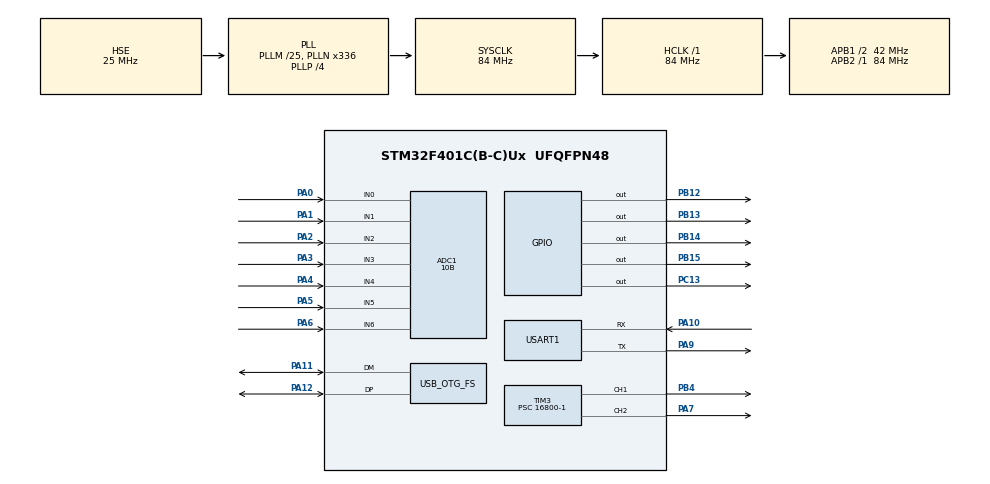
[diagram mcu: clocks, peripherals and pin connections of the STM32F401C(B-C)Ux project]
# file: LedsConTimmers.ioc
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ADC1.Channel-0\#ChannelRegularConversion=ADC_CHANNEL_0
ADC1.Channel-1\#ChannelRegularConversion=ADC_CHANNEL_1
ADC1.Channel-2\#ChannelRegularConversion=ADC_CHANNEL_2
ADC1.Channel-3\#ChannelRegularConversion=ADC_CHANNEL_3
ADC1.Channel-4\#ChannelRegularConversion=ADC_CHANNEL_4
ADC1.Channel-5\#ChannelRegularConversion=ADC_CHANNEL_5
ADC1.Channel-6\#ChannelRegularConversion=ADC_CHANNEL_6
ADC1.ClockPrescaler=ADC_CLOCK_SYNC_PCLK_DIV8
ADC1.ContinuousConvMode=ENABLE
ADC1.DMAContinuousRequests=ENABLE
ADC1.NbrOfConversion=7
ADC1.NbrOfConversionFlag=1
ADC1.Rank-0\#ChannelRegularConversion=1
ADC1.Rank-1\#ChannelRegularConversion=2
ADC1.Rank-2\#ChannelRegularConversion=3
ADC1.Rank-3\#ChannelRegularConversion=4
ADC1.Rank-4\#ChannelRegularConversion=5
ADC1.Rank-5\#ChannelRegularConversion=6
ADC1.Rank-6\#ChannelRegularConversion=7
ADC1.Resolution=ADC_RESOLUTION_10B
ADC1.SamplingTime-0\#ChannelRegularConversion=ADC_SAMPLETIME_3CYCLES
ADC1.SamplingTime-1\#ChannelRegularConversion=ADC_SAMPLETIME_3CYCLES
ADC1.SamplingTime-2\#ChannelRegularConversion=ADC_SAMPLETIME_3CYCLES
ADC1.SamplingTime-3\#ChannelRegularConversion=ADC_SAMPLETIME_3CYCLES
ADC1.SamplingTime-4\#ChannelRegularConversion=ADC_SAMPLETIME_3CYCLES
ADC1.SamplingTime-5\#ChannelRegularConversion=ADC_SAMPLETIME_3CYCLES
ADC1.SamplingTime-6\#ChannelRegularConversion=ADC_SAMPLETIME_3CYCLES
ADC1.master=1
Dma.ADC1.0.Direction=DMA_PERIPH_TO_MEMORY
Dma.ADC1.0.FIFOMode=DMA_FIFOMODE_DISABLE
Dma.ADC1.0.Instance=DMA2_Stream0
Dma.ADC1.0.MemDataAlignment=DMA_MDATAALIGN_WORD
Dma.ADC1.0.MemInc=DMA_MINC_ENABLE
Dma.ADC1.0.Mode=DMA_CIRCULAR
Dma.ADC1.0.PeriphDataAlignment=DMA_PDATAALIGN_WORD
Dma.ADC1.0.PeriphInc=DMA_PINC_DISABLE
Dma.ADC1.0.Priority=DMA_PRIORITY_LOW
Dma.Request0=ADC1
Mcu.Family=STM32F4
Mcu.Name=STM32F401C(B-C)Ux
Mcu.Package=UFQFPN48
NVIC.DMA2_Stream0_IRQn=true\:0\:0\:false\:false\:true\:false\:true\:true
NVIC.OTG_FS_IRQn=true\:0\:0\:false\:false\:true\:false\:true\:true
NVIC.PriorityGroup=NVIC_PRIORITYGROUP_4
NVIC.TIM2_IRQn=true\:0\:0\:false\:false\:true\:true\:true\:true
NVIC.TIM3_IRQn=true\:0\:0\:false\:false\:true\:true\:true\:true
NVIC.USART1_IRQn=true\:0\:0\:false\:false\:true\:true\:true\:true
PA0-WKUP.Signal=ADCx_IN0
PA1.Signal=ADCx_IN1
PA10.Mode=Asynchronous
PA10.Signal=USART1_RX
PA11.Mode=Device_Only
PA11.Signal=USB_OTG_FS_DM
PA12.Mode=Device_Only
PA12.Signal=USB_OTG_FS_DP
PA13.Mode=Serial_Wire
PA13.Signal=SYS_JTMS-SWDIO
PA14.Mode=Serial_Wire
PA14.Signal=SYS_JTCK-SWCLK
PA2.Signal=ADCx_IN2
PA3.Signal=ADCx_IN3
PA4.Signal=ADCx_IN4
PA5.Signal=ADCx_IN5
PA6.Signal=ADCx_IN6
PA7.Signal=S_TIM3_CH2
PA9.Mode=Asynchronous
PA9.Signal=USART1_TX
PB12.Signal=GPIO_Output
PB13.Signal=GPIO_Output
PB14.Signal=GPIO_Output
PB15.Signal=GPIO_Output
PB4.Signal=S_TIM3_CH1
PC13-ANTI_TAMP.Signal=GPIO_Output
PH0\ -\ OSC_IN.Mode=HSE-External-Oscillator
PH0\ -\ OSC_IN.Signal=RCC_OSC_IN
PH1\ -\ OSC_OUT.Mode=HSE-External-Oscillator
PH1\ -\ OSC_OUT.Signal=RCC_OSC_OUT
ProjectManager.HeapSize=0x200
ProjectManager.StackSize=0x400
ProjectManager.TargetToolchain=STM32CubeIDE
RCC.48MHZClocksFreq_Value=48000000
RCC.AHBFreq_Value=84000000
RCC.APB1CLKDivider=RCC_HCLK_DIV2
RCC.APB1Freq_Value=42000000
RCC.APB1TimFreq_Value=84000000
RCC.APB2Freq_Value=84000000
RCC.APB2TimFreq_Value=84000000
RCC.CortexFreq_Value=84000000
RCC.HCLKFreq_Value=84000000
RCC.HSE_VALUE=25000000
RCC.HSI_VALUE=16000000
RCC.LSE_VALUE=32768
RCC.PLLM=25
RCC.PLLN=336
RCC.PLLP=RCC_PLLP_DIV4
RCC.PLLQ=7
RCC.SYSCLKFreq_VALUE=84000000
RCC.SYSCLKSource=RCC_SYSCLKSOURCE_PLLCLK
RCC.VCOOutputFreq_Value=336000000
SH.ADCx_IN0.0=ADC1_IN0,IN0
SH.ADCx_IN1.0=ADC1_IN1,IN1
SH.ADCx_IN2.0=ADC1_IN2,IN2
SH.ADCx_IN3.0=ADC1_IN3,IN3
SH.ADCx_IN4.0=ADC1_IN4,IN4
SH.ADCx_IN5.0=ADC1_IN5,IN5
SH.ADCx_IN6.0=ADC1_IN6,IN6
SH.S_TIM3_CH1.0=TIM3_CH1,PWM Generation1 CH1
SH.S_TIM3_CH2.0=TIM3_CH2,PWM Generation2 CH2
TIM2.Period=10-1
TIM2.Prescaler=8400-1
TIM3.Channel-PWM\ Generation1\ CH1=TIM_CHANNEL_1
TIM3.Channel-PWM\ Generation2\ CH2=TIM_CHANNEL_2
TIM3.Period=100-1
TIM3.Prescaler=16800-1
USART1.VirtualMode=VM_ASYNC
USB_DEVICE.CLASS_NAME_FS=CDC
USB_DEVICE.VirtualMode=Cdc
USB_DEVICE.VirtualModeFS=Cdc_FS
USB_OTG_FS.VirtualMode=Device_Only
VP_TIM2_VS_ClockSourceINT.Mode=Internal
VP_TIM3_VS_ClockSourceINT.Mode=Internal
VP_USB_DEVICE_VS_USB_DEVICE_CDC_FS.Mode=CDC_FS
board=custom

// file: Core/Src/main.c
/* USER CODE BEGIN Header */
/**
  ******************************************************************************
  * @file           : main.c
  * @brief          : Main program body
  ******************************************************************************
  * @attention
  *
  * Copyright (c) 2022 STMicroelectronics.
  * All rights reserved.
  *
  * This software is licensed under terms that can be found in the LICENSE file
  * in the root directory of this software component.
  * If no LICENSE file comes with this software, it is provided AS-IS.
  *
  ******************************************************************************
  */
/* USER CODE END Header */
#include "main.h"
#include "usb_device.h"

ADC_HandleTypeDef hadc1;
DMA_HandleTypeDef hdma_adc1;

TIM_HandleTypeDef htim2;
TIM_HandleTypeDef htim3;

UART_HandleTypeDef huart1;

/* USER CODE BEGIN PV */
typedef enum{
	LED1_Toggle=0,
	LED2_Toggle,
	LED3_Toggle,
	LED4_Toggle,
	TIEMPO_CALIBRACION,
	TIEMPO_MOTOR1,
	MOTOR1_TOGGLE,
	TIEMPO_MOTOR2,
	MOTOR2_TOGGLE,
	VUELTAS,
	TTOTAL
}TIMERS;

volatile uint32_t timers[TTOTAL];

//MAQUINA DE ESTADOS DE LED1
typedef enum{
	LED_ON = 0,
	LED_OFF,
	LED_STANDBY
}ST_LED1;

//estado principal del seguidor de linea
typedef enum{
	ESPERA=0,
	CALIBRACION,//1
	MOTOR_DERECHO,//2
	MOTOR_IZQUIERDO,//3
	SEGUIDOR_LINEA,//4
}MODO_TRABAJO;

typedef enum{
	INICIA_VAL=0,
	CAPTURA_DATOS
}ST_CAL;

typedef enum{
	INICIA=0,
	PRUEBA
}ST_MOTOR;

typedef enum{
INICIA_C=0,
AT,
CIPMODE,
CIPSTART,
CIPSEND,
CONECTED
}ST_CONECT;

ST_CONECT st_conexion=INICIA;
ST_LED1 st_led1 = LED_STANDBY, st_led2 = LED_STANDBY, st_led3 = LED_STANDBY, st_led4 = LED_STANDBY;
MODO_TRABAJO modo_trabajo=ESPERA;
ST_CAL st_calibracion=INICIA_VAL;
ST_MOTOR st_motor1=INICIA, st_motor2=INICIA;
uint8_t pulsador1 = 0, pulsador2 = 0, pulsador3 = 0, pulsador4 = 0;
volatile uint8_t datoRecibido[64], bufW[16];
int32_t valorPonderado = 0;
int32_t sumaPonderada = 0;
int32_t mediaPonderada = 0;
uint32_t adc[7], max[7], min[7];
uint8_t enviar[32];
uint8_t error=0, mot1=0, mot2=0, vueltas=0, motPast1=0, motPast2=0;
int32_t posi = 0;
uint8_t led[5];
int arr[16][4] = { {0, 0, 0, 0},
		{0, 0, 0, 1},
		{0, 0, 1, 0},
		{0, 0, 1, 1},
		{0, 1, 0, 0},
		{0, 1, 0, 1},
		{0, 1, 1, 0},
		{0, 1, 1, 1},
		{1, 0, 0, 0},
		{1, 0, 0, 1},
		{1, 0, 1, 0},
		{1, 0, 1, 1},
		{1, 1, 0, 0},
		{1, 1, 0, 1},
		{1, 1, 1, 0},
		{1, 1, 1, 1}
      };
/* USER CODE END PV */

void SystemClock_Config(void);
static void MX_GPIO_Init(void);
static void MX_DMA_Init(void);
static void MX_TIM2_Init(void);
static void MX_ADC1_Init(void);
static void MX_TIM3_Init(void);
static void MX_USART1_UART_Init(void);

int main(void)
{

  /* MCU Configuration--------------------------------------------------------*/

  /* Reset of all peripherals, Initializes the Flash interface and the Systick. */
  HAL_Init();

  /* Configure the system clock */
  SystemClock_Config();

  /* Initialize all configured peripherals */
  MX_GPIO_Init();
  MX_DMA_Init();
  MX_TIM2_Init();
  MX_USB_DEVICE_Init();
  MX_ADC1_Init();
  MX_TIM3_Init();
  MX_USART1_UART_Init();
  /* USER CODE BEGIN 2 */
  HAL_ADC_Start_DMA(&hadc1, adc, 7);
  HAL_TIM_Base_Start_IT(&htim2);
  HAL_TIM_Base_Start(&htim3);
  HAL_TIM_PWM_Start(&htim3, TIM_CHANNEL_1);
  HAL_TIM_PWM_Start(&htim3, TIM_CHANNEL_2);
  TIM3->CCR2=0;
  TIM3->CCR1=0;
  /* USER CODE END 2 */

  /* Infinite loop */
  /* USER CODE BEGIN WHILE */

  while (1)
  {
	  //conexionHandler();
	  ledHandler();
	  //memset(led,0,5);
	  //for(int i=0; i<5;i++){

		 // led[i]=(vueltas>>i);
	  //}

	  cuentaHandler();
	  seguidorHandler();
	  //comunicacionHandler();
    /* USER CODE END WHILE */

  }
}

void SystemClock_Config(void)
{
  RCC_OscInitTypeDef RCC_OscInitStruct = {0};
  RCC_ClkInitTypeDef RCC_ClkInitStruct = {0};

  /** Configure the main internal regulator output voltage
  */
  __HAL_RCC_PWR_CLK_ENABLE();
  __HAL_PWR_VOLTAGESCALING_CONFIG(PWR_REGULATOR_VOLTAGE_SCALE2);

  /** Initializes the RCC Oscillators according to the specified parameters
  * in the RCC_OscInitTypeDef structure.
  */
  RCC_OscInitStruct.OscillatorType = RCC_OSCILLATORTYPE_HSE;
  RCC_OscInitStruct.HSEState = RCC_HSE_ON;
  RCC_OscInitStruct.PLL.PLLState = RCC_PLL_ON;
  RCC_OscInitStruct.PLL.PLLSource = RCC_PLLSOURCE_HSE;
  RCC_OscInitStruct.PLL.PLLM = 25;
  RCC_OscInitStruct.PLL.PLLN = 336;
  RCC_OscInitStruct.PLL.PLLP = RCC_PLLP_DIV4;
  RCC_OscInitStruct.PLL.PLLQ = 7;
  if (HAL_RCC_OscConfig(&RCC_OscInitStruct) != HAL_OK)
  {
    Error_Handler();
  }

  /** Initializes the CPU, AHB and APB buses clocks
  */
  RCC_ClkInitStruct.ClockType = RCC_CLOCKTYPE_HCLK|RCC_CLOCKTYPE_SYSCLK
                              |RCC_CLOCKTYPE_PCLK1|RCC_CLOCKTYPE_PCLK2;
  RCC_ClkInitStruct.SYSCLKSource = RCC_SYSCLKSOURCE_PLLCLK;
  RCC_ClkInitStruct.AHBCLKDivider = RCC_SYSCLK_DIV1;
  RCC_ClkInitStruct.APB1CLKDivider = RCC_HCLK_DIV2;
  RCC_ClkInitStruct.APB2CLKDivider = RCC_HCLK_DIV1;

  if (HAL_RCC_ClockConfig(&RCC_ClkInitStruct, FLASH_LATENCY_2) != HAL_OK)
  {
    Error_Handler();
  }
}

static void MX_ADC1_Init(void)
{

  ADC_ChannelConfTypeDef sConfig = {0};

  /** Configure the global features of the ADC (Clock, Resolution, Data Alignment and number of conversion)
  */
  hadc1.Instance = ADC1;
  hadc1.Init.ClockPrescaler = ADC_CLOCK_SYNC_PCLK_DIV8;
  hadc1.Init.Resolution = ADC_RESOLUTION_10B;
  hadc1.Init.ScanConvMode = ENABLE;
  hadc1.Init.ContinuousConvMode = ENABLE;
  hadc1.Init.DiscontinuousConvMode = DISABLE;
  hadc1.Init.ExternalTrigConvEdge = ADC_EXTERNALTRIGCONVEDGE_NONE;
  hadc1.Init.ExternalTrigConv = ADC_SOFTWARE_START;
  hadc1.Init.DataAlign = ADC_DATAALIGN_RIGHT;
  hadc1.Init.NbrOfConversion = 7;
  hadc1.Init.DMAContinuousRequests = ENABLE;
  hadc1.Init.EOCSelection = ADC_EOC_SINGLE_CONV;
  if (HAL_ADC_Init(&hadc1) != HAL_OK)
  {
    Error_Handler();
  }

  /** Configure for the selected ADC regular channel its corresponding rank in the sequencer and its sample time.
  */
  sConfig.Channel = ADC_CHANNEL_0;
  sConfig.Rank = 1;
  sConfig.SamplingTime = ADC_SAMPLETIME_3CYCLES;
  if (HAL_ADC_ConfigChannel(&hadc1, &sConfig) != HAL_OK)
  {
    Error_Handler();
  }

  /** Configure for the selected ADC regular channel its corresponding rank in the sequencer and its sample time.
  */
  sConfig.Channel = ADC_CHANNEL_1;
  sConfig.Rank = 2;
  if (HAL_ADC_ConfigChannel(&hadc1, &sConfig) != HAL_OK)
  {
    Error_Handler();
  }

  /** Configure for the selected ADC regular channel its corresponding rank in the sequencer and its sample time.
  */
  sConfig.Channel = ADC_CHANNEL_2;
  sConfig.Rank = 3;
  if (HAL_ADC_ConfigChannel(&hadc1, &sConfig) != HAL_OK)
  {
    Error_Handler();
  }

  /** Configure for the selected ADC regular channel its corresponding rank in the sequencer and its sample time.
  */
  sConfig.Channel = ADC_CHANNEL_3;
  sConfig.Rank = 4;
  if (HAL_ADC_ConfigChannel(&hadc1, &sConfig) != HAL_OK)
  {
    Error_Handler();
  }

  /** Configure for the selected ADC regular channel its corresponding rank in the sequencer and its sample time.
  */
  sConfig.Channel = ADC_CHANNEL_4;
  sConfig.Rank = 5;
  if (HAL_ADC_ConfigChannel(&hadc1, &sConfig) != HAL_OK)
  {
    Error_Handler();
  }

  /** Configure for the selected ADC regular channel its corresponding rank in the sequencer and its sample time.
  */
  sConfig.Channel = ADC_CHANNEL_5;
  sConfig.Rank = 6;
  if (HAL_ADC_ConfigChannel(&hadc1, &sConfig) != HAL_OK)
  {
    Error_Handler();
  }

  /** Configure for the selected ADC regular channel its corresponding rank in the sequencer and its sample time.
  */
  sConfig.Channel = ADC_CHANNEL_6;
  sConfig.Rank = 7;
  if (HAL_ADC_ConfigChannel(&hadc1, &sConfig) != HAL_OK)
  {
    Error_Handler();
  }

}

static void MX_TIM2_Init(void)
{

  TIM_ClockConfigTypeDef sClockSourceConfig = {0};
  TIM_MasterConfigTypeDef sMasterConfig = {0};

  htim2.Instance = TIM2;
  htim2.Init.Prescaler = 8400-1;
  htim2.Init.CounterMode = TIM_COUNTERMODE_UP;
  htim2.Init.Period = 10-1;
  htim2.Init.ClockDivision = TIM_CLOCKDIVISION_DIV1;
  htim2.Init.AutoReloadPreload = TIM_AUTORELOAD_PRELOAD_DISABLE;
  if (HAL_TIM_Base_Init(&htim2) != HAL_OK)
  {
    Error_Handler();
  }
  sClockSourceConfig.ClockSource = TIM_CLOCKSOURCE_INTERNAL;
  if (HAL_TIM_ConfigClockSource(&htim2, &sClockSourceConfig) != HAL_OK)
  {
    Error_Handler();
  }
  sMasterConfig.MasterOutputTrigger = TIM_TRGO_RESET;
  sMasterConfig.MasterSlaveMode = TIM_MASTERSLAVEMODE_DISABLE;
  if (HAL_TIMEx_MasterConfigSynchronization(&htim2, &sMasterConfig) != HAL_OK)
  {
    Error_Handler();
  }

}

static void MX_TIM3_Init(void)
{

  TIM_ClockConfigTypeDef sClockSourceConfig = {0};
  TIM_MasterConfigTypeDef sMasterConfig = {0};
  TIM_OC_InitTypeDef sConfigOC = {0};

  htim3.Instance = TIM3;
  htim3.Init.Prescaler = 16800-1;
  htim3.Init.CounterMode = TIM_COUNTERMODE_UP;
  htim3.Init.Period = 100-1;
  htim3.Init.ClockDivision = TIM_CLOCKDIVISION_DIV1;
  htim3.Init.AutoReloadPreload = TIM_AUTORELOAD_PRELOAD_DISABLE;
  if (HAL_TIM_Base_Init(&htim3) != HAL_OK)
  {
    Error_Handler();
  }
  sClockSourceConfig.ClockSource = TIM_CLOCKSOURCE_INTERNAL;
  if (HAL_TIM_ConfigClockSource(&htim3, &sClockSourceConfig) != HAL_OK)
  {
    Error_Handler();
  }
  if (HAL_TIM_PWM_Init(&htim3) != HAL_OK)
  {
    Error_Handler();
  }
  sMasterConfig.MasterOutputTrigger = TIM_TRGO_RESET;
  sMasterConfig.MasterSlaveMode = TIM_MASTERSLAVEMODE_DISABLE;
  if (HAL_TIMEx_MasterConfigSynchronization(&htim3, &sMasterConfig) != HAL_OK)
  {
    Error_Handler();
  }
  sConfigOC.OCMode = TIM_OCMODE_PWM1;
  sConfigOC.Pulse = 0;
  sConfigOC.OCPolarity = TIM_OCPOLARITY_HIGH;
  sConfigOC.OCFastMode = TIM_OCFAST_DISABLE;
  if (HAL_TIM_PWM_ConfigChannel(&htim3, &sConfigOC, TIM_CHANNEL_1) != HAL_OK)
  {
    Error_Handler();
  }
  if (HAL_TIM_PWM_ConfigChannel(&htim3, &sConfigOC, TIM_CHANNEL_2) != HAL_OK)
  {
    Error_Handler();
  }
  HAL_TIM_MspPostInit(&htim3);

}

static void MX_USART1_UART_Init(void)
{

  huart1.Instance = USART1;
  huart1.Init.BaudRate = 115200;
  huart1.Init.WordLength = UART_WORDLENGTH_8B;
  huart1.Init.StopBits = UART_STOPBITS_1;
  huart1.Init.Parity = UART_PARITY_NONE;
  huart1.Init.Mode = UART_MODE_TX_RX;
  huart1.Init.HwFlowCtl = UART_HWCONTROL_NONE;
  huart1.Init.OverSampling = UART_OVERSAMPLING_16;
  if (HAL_UART_Init(&huart1) != HAL_OK)
  {
    Error_Handler();
  }

}

static void MX_DMA_Init(void)
{

  /* DMA controller clock enable */
  __HAL_RCC_DMA2_CLK_ENABLE();

  /* DMA interrupt init */
  /* DMA2_Stream0_IRQn interrupt configuration */
  HAL_NVIC_SetPriority(DMA2_Stream0_IRQn, 0, 0);
  HAL_NVIC_EnableIRQ(DMA2_Stream0_IRQn);

}

static void MX_GPIO_Init(void)
{
  GPIO_InitTypeDef GPIO_InitStruct = {0};

  /* GPIO Ports Clock Enable */
  __HAL_RCC_GPIOC_CLK_ENABLE();
  __HAL_RCC_GPIOH_CLK_ENABLE();
  __HAL_RCC_GPIOA_CLK_ENABLE();
  __HAL_RCC_GPIOB_CLK_ENABLE();

  /*Configure GPIO pin Output Level */
  HAL_GPIO_WritePin(GPIOC, GPIO_PIN_13, GPIO_PIN_RESET);

  /*Configure GPIO pin Output Level */
  HAL_GPIO_WritePin(GPIOB, GPIO_PIN_12|GPIO_PIN_13|GPIO_PIN_14|GPIO_PIN_15, GPIO_PIN_RESET);

  /*Configure GPIO pin : PC13 */
  GPIO_InitStruct.Pin = GPIO_PIN_13;
  GPIO_InitStruct.Mode = GPIO_MODE_OUTPUT_PP;
  GPIO_InitStruct.Pull = GPIO_NOPULL;
  GPIO_InitStruct.Speed = GPIO_SPEED_FREQ_LOW;
  HAL_GPIO_Init(GPIOC, &GPIO_InitStruct);

  /*Configure GPIO pins : PB12 PB13 PB14 PB15 */
  GPIO_InitStruct.Pin = GPIO_PIN_12|GPIO_PIN_13|GPIO_PIN_14|GPIO_PIN_15;
  GPIO_InitStruct.Mode = GPIO_MODE_OUTPUT_PP;
  GPIO_InitStruct.Pull = GPIO_NOPULL;
  GPIO_InitStruct.Speed = GPIO_SPEED_FREQ_LOW;
  HAL_GPIO_Init(GPIOB, &GPIO_InitStruct);

}

/* USER CODE BEGIN 4 */
void HAL_TIM_PeriodElapsedCallback(TIM_HandleTypeDef *htim){
	uint8_t i;
		for(i=0; i< TTOTAL; i++){
			if(timers[i] != 0){
				timers[i]--;
			}
		}
}
void ledHandle1(){
	switch(st_led1){
			case LED_STANDBY:
				HAL_GPIO_WritePin(GPIOB,GPIO_PIN_12,0);
				if(timers[TIEMPO_CALIBRACION] != 0){
				st_led1 = LED_OFF;
				timers[LED1_Toggle] = 0;
				}
				break;

			case LED_OFF:
				if(timers[LED1_Toggle] == 0){
				HAL_GPIO_WritePin(GPIOB,GPIO_PIN_12,0);
				st_led1 = LED_ON;
				timers[LED1_Toggle] = 500;
				}
				if(timers[TIEMPO_CALIBRACION] == 0)
					st_led1=LED_STANDBY;
				break;

			case LED_ON:
				if(timers[LED1_Toggle] == 0){
				HAL_GPIO_WritePin(GPIOB,GPIO_PIN_12,1);
				st_led1 = LED_OFF;
				timers[LED1_Toggle] = 500;
				}
				if(timers[TIEMPO_CALIBRACION] == 0)
					st_led1=LED_STANDBY;
				break;
		}
}
void ledHandle2(){
	switch(st_led2){

			case LED_STANDBY:
				HAL_GPIO_WritePin(GPIOB,GPIO_PIN_13,0);
				if(timers[TIEMPO_MOTOR1] != 0){
				st_led2 = LED_OFF;
				timers[LED2_Toggle] = 0;
				}
				break;

			case LED_OFF:
				if(timers[LED2_Toggle] == 0){
				HAL_GPIO_WritePin(GPIOB,GPIO_PIN_13,0);
				st_led2 = LED_ON;
				timers[LED2_Toggle] = 500;
				}
				if(timers[TIEMPO_MOTOR1] == 0)
					st_led2=LED_STANDBY;
				break;

			case LED_ON:
				if(timers[LED2_Toggle] == 0){
				HAL_GPIO_WritePin(GPIOB,GPIO_PIN_13,1);
				st_led2 = LED_OFF;
				timers[LED2_Toggle] = 500;
				}
				if(timers[TIEMPO_MOTOR1] == 0)
					st_led2=LED_STANDBY;
				break;
		}
}
void ledHandle3(){
	switch(st_led3){

			case LED_STANDBY:
				HAL_GPIO_WritePin(GPIOB,GPIO_PIN_14,0);
				if(timers[TIEMPO_MOTOR2] != 0){
				st_led3 = LED_OFF;
				timers[LED3_Toggle] = 0;
				}
				break;

			case LED_OFF:
				if(timers[LED3_Toggle] == 0){
					HAL_GPIO_WritePin(GPIOB,GPIO_PIN_14,0);
				st_led3 = LED_ON;
				timers[LED3_Toggle] = 500;
				}
				if(timers[TIEMPO_MOTOR2] == 0)
					st_led3=LED_STANDBY;
				break;

			case LED_ON:
				if(timers[LED3_Toggle] == 0){
				HAL_GPIO_WritePin(GPIOB,GPIO_PIN_14,1);
				st_led3 = LED_OFF;
				timers[LED3_Toggle] = 500;
				}
				if(timers[TIEMPO_MOTOR2] == 0)
					st_led3=LED_STANDBY;
				break;
		}
}
void ledHandle4(){
	switch(st_led4){

			case LED_STANDBY:
				HAL_GPIO_WritePin(GPIOB,GPIO_PIN_15,0);
				if(modo_trabajo==ESPERA){
				st_led4 = LED_OFF;
				timers[LED4_Toggle] = 0;
				}
				break;

			case LED_OFF:
				if(timers[LED4_Toggle] == 0){
				HAL_GPIO_WritePin(GPIOB,GPIO_PIN_15,0);
				st_led4 = LED_ON;
				timers[LED4_Toggle] = 200;
				}
				if(modo_trabajo!=ESPERA)
					st_led4=LED_STANDBY;
				break;

			case LED_ON:
				if(timers[LED4_Toggle] == 0){
				HAL_GPIO_WritePin(GPIOB,GPIO_PIN_15,1);
				st_led4 = LED_OFF;
				timers[LED4_Toggle] = 200;
				}
				if(modo_trabajo!=ESPERA)
					st_led4=LED_STANDBY;
				break;
		}
}
void ledHandler(){
		  ledHandle1();
		  ledHandle2();
		  ledHandle3();
		  ledHandle4();
}

void rutinaCalibracion(){
	switch(st_calibracion){
	case INICIA_VAL:
		for(int i=0;i<7;i++){
			max[i]=0;
			min[i]=1023;
		}
	    st_calibracion=CAPTURA_DATOS;
	    timers[TIEMPO_CALIBRACION]=15000;
		break;
	case CAPTURA_DATOS:
		for(int i=0;i<7;i++){
			if(max[i]<adc[i])
				max[i]=adc[i];
			if(min[i]>adc[i])
				min[i]=adc[i];
		}
		enviarQT(adc[0],adc[1],adc[2],adc[3],adc[4],adc[5],1);//seguidor
		enviarQT(max[0],max[1],max[2],max[3],max[4],max[5],2);//max
		enviarQT(min[0],min[1],min[2],min[3],min[4],min[5],3);//min
		if(timers[TIEMPO_CALIBRACION]==0){
			st_calibracion=INICIA_VAL;
			modo_trabajo=ESPERA;
		}
		break;
	}
}

void motorDerecho(){
	switch(st_motor1){
	case INICIA:
		TIM3->CCR1=0;
		st_motor1=PRUEBA;
		timers[TIEMPO_MOTOR1]=10000;
			break;
	case PRUEBA:
		if(timers[MOTOR1_TOGGLE]==0){
		TIM3->CCR1+=10;
		if((TIM3->CCR1)>100)
			TIM3->CCR1=0;
		timers[MOTOR1_TOGGLE]=500;
		}
		if(timers[TIEMPO_MOTOR1]==0){
			st_motor1=INICIA;
			modo_trabajo=ESPERA;
			TIM3->CCR1=0;
		}
		break;
	}
}

void motorIzquierdo(){
	switch(st_motor2){
	case INICIA:
			TIM3->CCR2=0;
			st_motor2=PRUEBA;
			timers[TIEMPO_MOTOR2]=10000;
				break;
		case PRUEBA:
			if(timers[MOTOR2_TOGGLE]==0){
			TIM3->CCR2+=10;
			if((TIM3->CCR2)>100)
				TIM3->CCR2=0;
			timers[MOTOR2_TOGGLE]=500;
			}
			if(timers[TIEMPO_MOTOR2]==0){
				st_motor2=INICIA;
				modo_trabajo=ESPERA;
				TIM3->CCR2=0;
			}
			break;
	}
}

int32_t rutinaPosicion(){
	int32_t valorPonderado=0, mediaPonderada=0;
	char negativo=0;
	for(int i=0;i<5;i++){
			if(max[i]<adc[i])
				max[i]=adc[i];
			if(min[i]>adc[i])
				min[i]=adc[i];
		}

	uint32_t adc0=adc[0]*(1023/(max[0]-min[0]))-(1023/(max[0]-min[0]))*min[0];
	uint32_t adc1=adc[1]*(1023/(max[1]-min[1]))-(1023/(max[1]-min[1]))*min[1];
	uint32_t adc2=adc[2]*(1023/(max[2]-min[2]))-(1023/(max[2]-min[2]))*min[2];
	uint32_t adc3=adc[3]*(1023/(max[3]-min[3]))-(1023/(max[3]-min[3]))*min[3];
	uint32_t adc4=adc[4]*(1023/(max[4]-min[4]))-(1023/(max[4]-min[4]))*min[4];

	valorPonderado = (int32_t)  (-2*adc0)+(-1*adc1)+(0*adc2)+(1*adc3)+(2*adc4);

	sumaPonderada = (int32_t) adc0+adc1+adc2+adc3+adc4;
		  if(valorPonderado < 0){
			  valorPonderado = valorPonderado * -1;
			  negativo = 1;
		  }

		  mediaPonderada = (int32_t)  75*valorPonderado/sumaPonderada;
		  if(negativo == 1){
			  mediaPonderada = mediaPonderada * -1;
		  }
	return mediaPonderada;
}

void seguidorLinea(){
	posi = rutinaPosicion();
	motPast1=mot1; motPast2=mot2;
	if(posi<0){
			if(posi<-10){
				mot1=10;
				mot2=60;
				}
			else if(posi<-20){
				mot1=5;
				mot2=60;
				}
			else if(adc[0]>500 && adc[1]>500 && adc[2]>500 && adc[3]>500 && adc[4]>500){
				if(motPast1<motPast2){
					mot1=2;
					mot2=60;
				}
				else {
					mot1=60;
					mot2=2;
				}
			}
			else{
				mot1=60;
				mot2=60;
			}
		}
		else{
			if(posi>10){
				mot1=60;
				mot2=10;
			}
			else if(posi>20){
				mot1=60;
				mot2=5;
			}
			else if(adc[0]>500 && adc[1]>500 && adc[2]>500 && adc[3]>500 && adc[4]>500){
				if(motPast1<motPast2){
					mot1=2;
					mot2=60;
				}
				else {
					mot1=60;
					mot2=2;
				}
			}
			else{
				mot1=60;
				mot2=60;
			}
		}
	if((timers[VUELTAS]==0)&&(adc[0]<500 && adc[1]<500 && adc[2]<500 && adc[3]<500 && adc[4]<500)){
		timers[VUELTAS]=3000;
		vueltas++;
		if(vueltas == 16){
			modo_trabajo = ESPERA;
		}
	}
	TIM3->CCR1=mot1;
	TIM3->CCR2=mot2;
}

void seguidorHandler(){
	switch(modo_trabajo){
	case ESPERA:

		TIM3->CCR1=0;
		TIM3->CCR2=0;
		break;
	case CALIBRACION:
		rutinaCalibracion();
		break;
	case MOTOR_DERECHO:
		motorDerecho();
		break;
	case MOTOR_IZQUIERDO:
		motorIzquierdo();
		break;
	case SEGUIDOR_LINEA:
		seguidorLinea();
		break;
	}
}

void enviarQT(uint32_t adc1, uint32_t adc2, uint32_t adc3, uint32_t adc4, uint32_t adc5, uint32_t adc6, uint8_t tipoDato){//PROTOCOLO (en bytes): 0. inicio(0x01), 1. tamaño (datos), 2 - (n+1).datos, n+2. checksum, n+3. final(0x02)
	uint8_t i=0;
	memset(enviar,0,32);
	enviar[0]=1;
	enviar[1]=8;
	//inicio datos:
	enviar[2]=adc1/4;
	enviar[3]=adc2/4;
	enviar[4]=adc3/4;
	enviar[5]=adc4/4;
	enviar[6]=adc5/4;
	enviar[7]=tipoDato;
	enviar[8]=adc6;
	//fin datos.
	for(i=0;i<9;i++){
		enviar[9]+=enviar[i];
	}
	enviar[10]=2;
	CDC_Transmit_FS(enviar,strlen(enviar));
	HAL_UART_Transmit(&huart1, enviar, strlen(enviar), 1);
}
void llegaDato(uint8_t* Buf, uint32_t Len){//PROTOCOLO (en bytes): 0. inicio(0x01), 1. tamaño (datos), 2 - (n+1).datos, n+2. checksum, n+3. final(0x02)
	memset(datoRecibido,'\0',256);
		error=0;
		if(Buf[0]!=0x01){
			error=1;
		}
		else{
			uint8_t i, checksum=Buf[0]+Buf[1];
			for(i=0;i<Len-4;i++){//Buf[1]
				datoRecibido[i]=Buf[i+2];
				checksum+=Buf[i+2];
			}
			if(checksum!=Buf[Len-2]){//Buf[1]+2
				error=1;
			}
			if(Buf[Len-1]!=0x02){//Buf[1]+3
				error=1;
			}
		}
		if(error!=1){//PROTOCOLO V2: byte 1 de dato recibido es modo de trabajo
				if((modo_trabajo==SEGUIDOR_LINEA)&&(datoRecibido[0]==4)){
					modo_trabajo=ESPERA;
				}
				else{
					modo_trabajo=datoRecibido[0];
				}
			    HAL_GPIO_TogglePin(GPIOB,GPIO_PIN_15);
			  }
			  else{
				  CDC_Transmit_FS("NO",strlen("NO"));
				  HAL_UART_Transmit(&huart1, "NO", strlen("NO"), 1);
				  //modo_trabajo=datoRecibido[0];
			  }
}

void cuentaHandler(){
	  HAL_GPIO_WritePin(GPIOB,GPIO_PIN_12,arr[vueltas][0]);
	  HAL_GPIO_WritePin(GPIOB,GPIO_PIN_13,arr[vueltas][1]);
	  HAL_GPIO_WritePin(GPIOB,GPIO_PIN_14,arr[vueltas][2]);
	  HAL_GPIO_WritePin(GPIOB,GPIO_PIN_15,arr[vueltas][3]);
}

/*void conexionHandler(){
uint8_t envi[32];
uint8_t recib[32];
	switch(st_conexion){
		case INICIA_C:
			envi="AT+CIPSTATUS";
			HAL_UART_Transmit(&huart1, envi, strlen(envi), 1);
            HAL_UART_Receive(&huart1, recib, 32, 2);
			if(recib!="STATUS:0"){
				st_conexion=AT;
			}
			break;
		case AT:
			envi="AT";
			HAL_UART_Transmit(&huart1, envi, strlen(envi), 1);
            HAL_UART_Receive(&huart1, recib, 32, 2);
			if(recib=="OK"){
				st_conexion=CIPMODE;
			}
			break;
		case CIPMODE:
			envi="AT+CIPMODE=1";
			HAL_UART_Transmit(&huart1, envi, strlen(envi), 1);
            HAL_UART_Receive(&huart1, recib, 32, 2);
			if(recib=="OK"){
				st_conexion=CIPSTART;
			}
			break;
		case CIPSTART:
			envi="AT+CIPSTART=\"TCP\",\"192.168.1.1\",1000";
			HAL_UART_Transmit(&huart1, envi, strlen(envi), 1);
            HAL_UART_Receive(&huart1, recib, 32, 2);
			if(recib=="OK"){
				st_conexion=CIPSEND;
			}
			break;
		case CIPSEND:
			envi="AT+CIPSEND";
			HAL_UART_Transmit(&huart1, envi, strlen(envi), 1);
            HAL_UART_Receive(&huart1, recib, 32, 2);
			if(recib==">"){
				st_conexion=CONECTED;
			}
			break;
		case CONECTED:
			  memset(bufW,0,32);
			  HAL_UART_Receive(&huart1, bufW, 32, 1);
			  if(bufW[2]!=0)
			  llegaDato(bufW,5);
			break;
	}
}*/

/* USER CODE END 4 */

void Error_Handler(void)
{
  __disable_irq();
  while (1)
  {
  }
}
